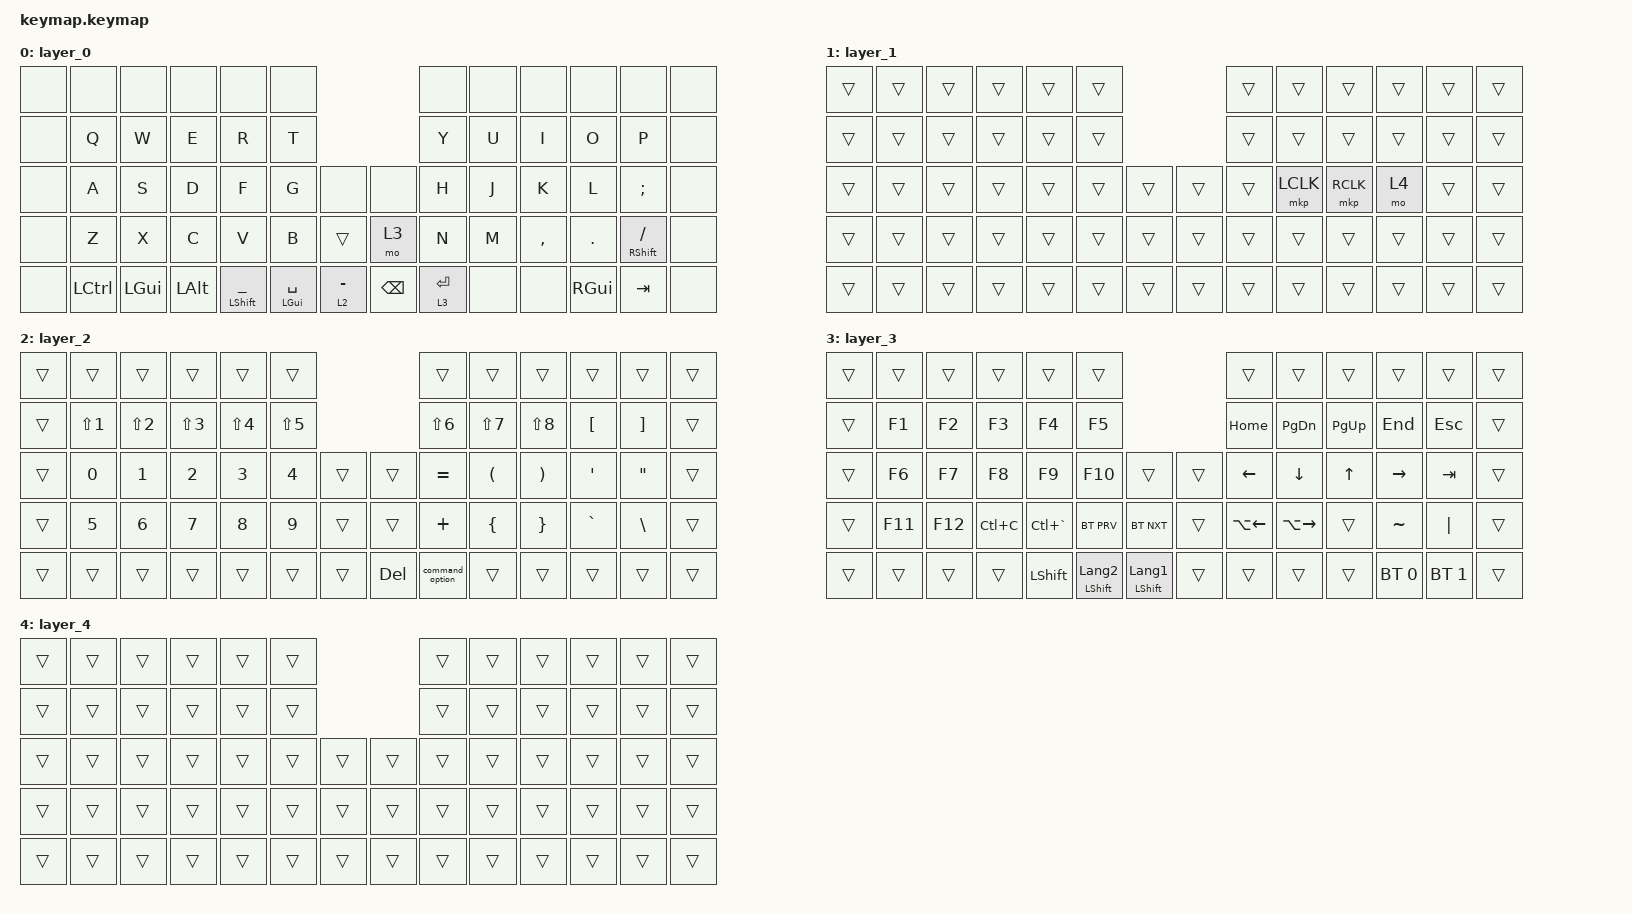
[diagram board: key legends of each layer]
#include <behaviors.dtsi>
#include <dt-bindings/zmk/backlight.h>
#include <dt-bindings/zmk/bt.h>
#include <dt-bindings/zmk/keys.h>
#include <dt-bindings/zmk/pointing.h>

/ {
    combos {
        compatible = "zmk,combos";

        bt_clear {
            bindings = <&bt BT_CLR>;
            key-positions = <28 29>;
            layers = <2>;
        };

        test_J {
            bindings = <&bl BL_ON>;
            key-positions = <33 36>;
        };

        test_k {
            bindings = <&bl BL_OFF>;
            key-positions = <34 36>;
        };

        test_l {
            bindings = <&bl BL_TOG>;
            key-positions = <35 36>;
        };
    };

    macros {
        control_shift: control_shift {
            compatible = "zmk,behavior-macro";
            #binding-cells = <0>;
            bindings = <&kp LEFT_CONTROL &kp LEFT_SHIFT>;
            label = "CONTROL_SHIFT";
        };

        command_option: command_option {
            compatible = "zmk,behavior-macro";
            #binding-cells = <0>;
            bindings = <&kp LEFT_GUI &kp LEFT_ALT>;
            label = "COMMAND_OPTION";
        };
    };

    keymap {
        compatible = "zmk,keymap";

        layer_0 {
            bindings = <
&none  &none      &none     &none     &none                 &none                                           &none        &none  &none      &none     &none                 &none
&none  &kp Q      &kp W     &kp E     &kp R                 &kp T                                           &kp Y        &kp U  &kp I      &kp O     &kp P                 &none
&none  &kp A      &kp S     &kp D     &kp F                 &kp G               &none        &none          &kp H        &kp J  &kp K      &kp L     &kp SEMI              &none
&none  &kp Z      &kp X     &kp C     &kp V                 &kp B               &trans       &mo 3          &kp N        &kp M  &kp COMMA  &kp DOT   &mt RIGHT_SHIFT FSLH  &none
&none  &kp LCTRL  &kp LGUI  &kp LALT  &mt LEFT_SHIFT UNDER  &mt LEFT_GUI SPACE  &lt 2 MINUS  &kp BACKSPACE  &lt 3 ENTER  &none  &none      &kp RGUI  &kp TAB               &none
            >;
        };

        layer_1 {
            bindings = <
&trans  &trans  &trans  &trans  &trans  &trans                  &trans  &trans     &trans     &trans  &trans  &trans
&trans  &trans  &trans  &trans  &trans  &trans                  &trans  &trans     &trans     &trans  &trans  &trans
&trans  &trans  &trans  &trans  &trans  &trans  &trans  &trans  &trans  &mkp LCLK  &mkp RCLK  &mo 4   &trans  &trans
&trans  &trans  &trans  &trans  &trans  &trans  &trans  &trans  &trans  &trans     &trans     &trans  &trans  &trans
&trans  &trans  &trans  &trans  &trans  &trans  &trans  &trans  &trans  &trans     &trans     &trans  &trans  &trans
            >;
        };

        layer_2 {
            bindings = <
&trans  &trans            &trans            &trans      &trans      &trans                       &trans           &trans                &trans                 &trans            &trans             &trans
&trans  &kp LS(NUMBER_1)  &kp LS(NUMBER_2)  &kp LS(N3)  &kp LS(N4)  &kp LS(N5)                   &kp LS(N6)       &kp LS(N7)            &kp LS(N8)             &kp LEFT_BRACKET  &kp RIGHT_BRACKET  &trans
&trans  &kp N0            &kp N1            &kp N2      &kp N3      &kp N4      &trans  &trans   &kp EQUAL        &kp LEFT_PARENTHESIS  &kp RIGHT_PARENTHESIS  &kp APOS          &kp DOUBLE_QUOTES  &trans
&trans  &kp N5            &kp N6            &kp N7      &kp N8      &kp N9      &trans  &trans   &kp PLUS         &kp LEFT_BRACE        &kp RIGHT_BRACE        &kp GRAVE         &kp BACKSLASH      &trans
&trans  &trans            &trans            &trans      &trans      &trans      &trans  &kp DEL  &command_option  &trans                &trans                 &trans            &trans             &trans
            >;
        };

        layer_3 {
            bindings = <
&trans  &trans   &trans   &trans     &trans          &trans                                                        &trans              &trans         &trans        &trans        &trans        &trans
&trans  &kp F1   &kp F2   &kp F3     &kp F4          &kp F5                                                        &kp HOME            &kp PAGE_DOWN  &kp PG_UP     &kp END       &kp ESCAPE    &trans
&trans  &kp F6   &kp F7   &kp F8     &kp F9          &kp F10                    &trans                     &trans  &kp LEFT            &kp DOWN       &kp UP_ARROW  &kp RIGHT     &kp TAB       &trans
&trans  &kp F11  &kp F12  &kp LC(C)  &kp LC(GRAVE)   &bt BT_PRV                 &bt BT_NXT                 &trans  &kp LA(LEFT_ARROW)  &kp LA(RIGHT)  &trans        &kp TILDE     &kp PIPE      &trans
&trans  &trans   &trans   &trans     &kp LEFT_SHIFT  &mt LEFT_SHIFT LANGUAGE_2  &mt LEFT_SHIFT LANGUAGE_1  &trans  &trans              &trans         &trans        &bt BT_SEL 0  &bt BT_SEL 1  &trans
            >;
        };

        layer_4 {
            bindings = <
&trans  &trans  &trans  &trans  &trans  &trans                  &trans  &trans  &trans  &trans  &trans  &trans
&trans  &trans  &trans  &trans  &trans  &trans                  &trans  &trans  &trans  &trans  &trans  &trans
&trans  &trans  &trans  &trans  &trans  &trans  &trans  &trans  &trans  &trans  &trans  &trans  &trans  &trans
&trans  &trans  &trans  &trans  &trans  &trans  &trans  &trans  &trans  &trans  &trans  &trans  &trans  &trans
&trans  &trans  &trans  &trans  &trans  &trans  &trans  &trans  &trans  &trans  &trans  &trans  &trans  &trans
            >;
        };
    };
};
